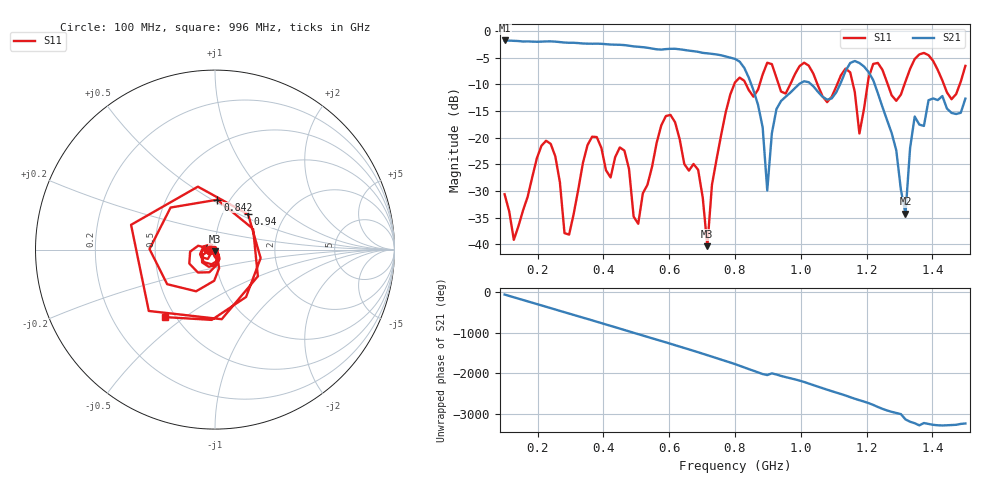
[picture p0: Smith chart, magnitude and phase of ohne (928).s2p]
! NanoVNA-App
! Date: 2025-09-25 14:28:01
! Start: 100MHz Stop: 1,5GHz Points: 101
! S-Parameter data: F S11 S21 S12 S22
# Hz S RI R 50
!  Frequency  S11_Real  S11_Imag  S21_Real  S21_Imag  S12_Real  S12_Imag  S22_Real  S22_Imag
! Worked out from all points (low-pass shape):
!   101 points, 100 MHz to 1.5 GHz, reference 50 ohm
!   highest |S21| = -1.79 dB at 100 MHz (marker M1); lowest = -34.3 dB at 1.318 GHz (marker M2)
!   |S21| within 3 dB of the highest: start of sweep to 771.6 MHz
!   lowest |S11| = -40.4 dB at 716 MHz (marker M3), VSWR 1.02, Z = 49.8 - j0.94 ohm
!   |S11| at or under -10 dB: start of sweep to 797.8 MHz; 833.2 MHz to 875 MHz (41.83 MHz wide, 4.9 % of centre); 1.05 GHz to 1.111 GHz (60.21 MHz wide, 5.57 % of centre) (the widest 3 of 7)
!   S12 and S22 are empty: the file has one direction only
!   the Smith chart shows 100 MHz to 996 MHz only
!   S11 on the Smith chart (normalised r, x): 100 MHz: 0.94, -0.01; 842 MHz: 0.88, +0.53; 940 MHz: 1.32, +0.56; 996 MHz: 0.44, -0.42
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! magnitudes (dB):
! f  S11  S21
! 100 MHz  -30.6  -1.8
! 128 MHz  -39.2  -1.9
! 226 MHz  -20.6  -2.0
! 296 MHz  -38.2  -2.2
! 338 MHz  -24.7  -2.4
! 464 MHz  -22.4  -2.7
! 506 MHz  -36.2  -3.0
! 576 MHz  -17.7  -3.5
! 688 MHz  -26.1  -3.9
! 716 MHz  -40.4  -4.2
! 800 MHz  -9.7  -5.3
! 842 MHz  -11.1  -8.8
! 898 MHz  -6.0  -29.9
! 940 MHz  -11.4  -13.1
! 996 MHz  -6.6  -9.9
! 1.038 GHz  -8.0  -10.4
! 1.178 GHz  -19.2  -6.0
! 1.22 GHz  -6.2  -9.2
! 1.276 GHz  -12.1  -19.2
! 1.318 GHz  -9.5  -34.3
! 1.346 GHz  -5.3  -16.1
! 1.5 GHz  -6.6  -12.7
